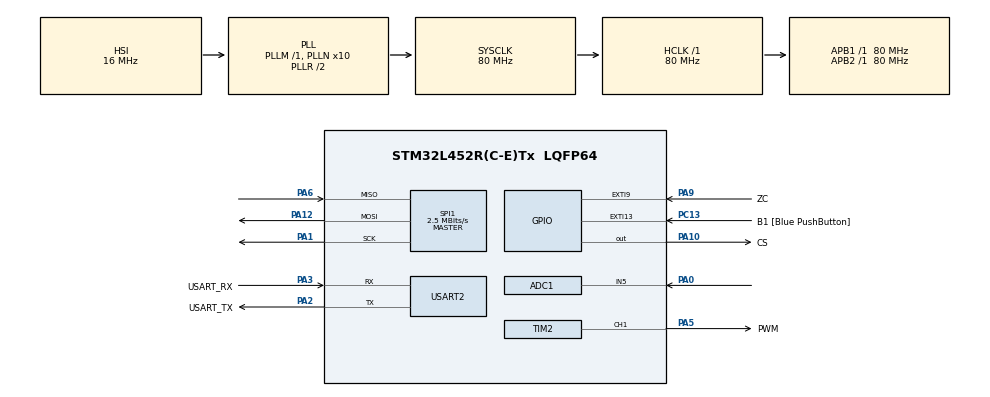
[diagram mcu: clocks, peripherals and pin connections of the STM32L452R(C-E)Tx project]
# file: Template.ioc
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ADC1.Channel-0\#ChannelRegularConversion=ADC_CHANNEL_5
ADC1.ClockPrescaler=ADC_CLOCK_ASYNC_DIV8
ADC1.NbrOfConversionFlag=1
ADC1.OffsetNumber-0\#ChannelRegularConversion=ADC_OFFSET_NONE
ADC1.Rank-0\#ChannelRegularConversion=1
ADC1.SamplingTime-0\#ChannelRegularConversion=ADC_SAMPLETIME_12CYCLES_5
ADC1.master=1
Mcu.Family=STM32L4
Mcu.Name=STM32L452R(C-E)Tx
Mcu.Package=LQFP64
Mcu.UserConstants=PRESCALER_VALUE,(4000-1);COUNTER_PERIOD_VALUE,(400-1)
NVIC.EXTI9_5_IRQn=true\:0\:0\:false\:false\:true\:true\:true\:true
NVIC.PriorityGroup=NVIC_PRIORITYGROUP_4
NVIC.TIM2_IRQn=true\:0\:0\:false\:false\:true\:true\:true\:true
PA0.Signal=ADCx_IN5
PA1.Mode=Full_Duplex_Master
PA1.Signal=SPI1_SCK
PA10.GPIO_Label=CS
PA10.GPIO_PuPd=GPIO_NOPULL
PA10.PinState=GPIO_PIN_SET
PA10.Signal=GPIO_Output
PA12.Mode=Full_Duplex_Master
PA12.Signal=SPI1_MOSI
PA13\ (JTMS/SWDIO).GPIO_Label=TMS
PA13\ (JTMS/SWDIO).Mode=Serial_Wire
PA13\ (JTMS/SWDIO).Signal=SYS_JTMS-SWDIO
PA14\ (JTCK/SWCLK).GPIO_Label=TCK
PA14\ (JTCK/SWCLK).Mode=Serial_Wire
PA14\ (JTCK/SWCLK).Signal=SYS_JTCK-SWCLK
PA2.GPIO_Label=USART_TX
PA2.GPIO_Mode=GPIO_MODE_AF_PP
PA2.GPIO_PuPd=GPIO_NOPULL
PA2.GPIO_Speed=GPIO_SPEED_FREQ_VERY_HIGH
PA2.Mode=Asynchronous
PA2.Signal=USART2_TX
PA3.GPIO_Label=USART_RX
PA3.GPIO_Mode=GPIO_MODE_AF_PP
PA3.GPIO_PuPd=GPIO_NOPULL
PA3.GPIO_Speed=GPIO_SPEED_FREQ_VERY_HIGH
PA3.Mode=Asynchronous
PA3.Signal=USART2_RX
PA5.GPIO_Label=PWM
PA5.Signal=S_TIM2_CH1
PA6.Mode=Full_Duplex_Master
PA6.Signal=SPI1_MISO
PA9.GPIO_Label=ZC
PA9.GPIO_ModeDefaultEXTI=GPIO_MODE_IT_RISING_FALLING
PA9.GPIO_PuPd=GPIO_NOPULL
PA9.Signal=GPXTI9
PB3\ (JTDO/TRACESWO).GPIO_Label=SWO
PB3\ (JTDO/TRACESWO).Signal=SYS_JTDO-SWO
PC13.GPIO_Label=B1 [Blue PushButton]
PC13.GPIO_ModeDefaultEXTI=GPIO_MODE_IT_FALLING
PC13.GPIO_PuPd=GPIO_NOPULL
PC13.Signal=GPXTI13
PC14-OSC32_IN\ (PC14).Mode=LSE-External-Oscillator
PC14-OSC32_IN\ (PC14).Signal=RCC_OSC32_IN
PC15-OSC32_OUT\ (PC15).Mode=LSE-External-Oscillator
PC15-OSC32_OUT\ (PC15).Signal=RCC_OSC32_OUT
PH0-OSC_IN\ (PH0).Signal=RCC_OSC_IN
PH1-OSC_OUT\ (PH1).Signal=RCC_OSC_OUT
ProjectManager.HeapSize=0x200
ProjectManager.StackSize=0x400
ProjectManager.TargetToolchain=STM32CubeIDE
RCC.ADCFreq_Value=64000000
RCC.AHBFreq_Value=80000000
RCC.APB1Freq_Value=80000000
RCC.APB1TimFreq_Value=80000000
RCC.APB2Freq_Value=80000000
RCC.APB2TimFreq_Value=80000000
RCC.CortexFreq_Value=80000000
RCC.HCLKFreq_Value=80000000
RCC.HSE_VALUE=8000000
RCC.HSI48_VALUE=48000000
RCC.HSI_VALUE=16000000
RCC.MSI_VALUE=4000000
RCC.PLLN=10
RCC.PLLSourceVirtual=RCC_PLLSOURCE_HSI
RCC.PREFETCH_ENABLE=1
RCC.SYSCLKFreq_VALUE=80000000
RCC.SYSCLKSource=RCC_SYSCLKSOURCE_PLLCLK
RCC.USBFreq_Value=64000000
RCC.VCOOutputFreq_Value=160000000
SH.ADCx_IN5.0=ADC1_IN5,IN5-Single-Ended
SH.S_TIM2_CH1.0=TIM2_CH1,PWM Generation1 CH1
SPI1.BaudRatePrescaler=SPI_BAUDRATEPRESCALER_32
SPI1.CLKPhase=SPI_PHASE_1EDGE
SPI1.CLKPolarity=SPI_POLARITY_LOW
SPI1.CalculateBaudRate=2.5 MBits/s
SPI1.DataSize=SPI_DATASIZE_8BIT
SPI1.Direction=SPI_DIRECTION_2LINES
SPI1.Mode=SPI_MODE_MASTER
SPI1.VirtualType=VM_MASTER
TIM2.Channel-PWM\ Generation1\ CH1=TIM_CHANNEL_1
TIM2.Period=COUNTER_PERIOD_VALUE
TIM2.Prescaler=PRESCALER_VALUE
USART2.VirtualMode-Asynchronous=VM_ASYNC
board=NUCLEO-L452RE

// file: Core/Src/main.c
/* USER CODE BEGIN Header */
/**
  ******************************************************************************
  * @file           : main.c
  * @brief          : Main program body
  ******************************************************************************
  * @attention
  *
  * Copyright (c) 2022 STMicroelectronics.
  * All rights reserved.
  *
  * This software is licensed under terms that can be found in the LICENSE file
  * in the root directory of this software component.
  * If no LICENSE file comes with this software, it is provided AS-IS.
  *
  ******************************************************************************
  */
/* USER CODE END Header */
#include "main.h"
#include "adc.h"
#include "spi.h"
#include "tim.h"
#include "usart.h"
#include "gpio.h"

/* USER CODE BEGIN Includes */
#include <stdio.h>
#include "gpio_if.h"
#include "pwm.h"
#include "pid.h"

/* USER CODE END Includes */

/* USER CODE BEGIN PD */
#define TX_TIMEOUT_MS  100   /**< Transmission time timeout over UART */
#define DELAY_MS       100   /**< Delay timeout */
#define GPIO_LD2_ENABLED 0 /**< Use LD2 as GPIO driven LED. It needs special config in IOC */

#define BUFFER_RECEIVE_SIZE 2

float temperature;

/* USER CODE END PD */

/* USER CODE BEGIN PV */
volatile uint8_t interruptflag=0;
uint8_t buf_receive[BUFFER_RECEIVE_SIZE]; //SPI buffer to read temperature
float temperaturesetpoint = 150; //Temperature setpoint
float pid_out=0; //Test variable for PWM
float pid_out_final_1=0; //Test variable for PWM
float error = 0;

/* USER CODE END PV */

void SystemClock_Config(void);

int main(void)
{
  /* USER CODE BEGIN 1 */
#if GPIO_LD2_ENABLED
  t_gpio_pin user_led_pin = {LD4_GPIO_Port, LD4_Pin};
  t_gpio_if user_led;
#endif
  t_pwm pwm;
  SPid pid;

  //set P, I and D parameters
  pid.propGain = 2;
  pid.integratGain = 0.018;
  pid.derGain = 0;
  /* USER CODE END 1 */

  /* MCU Configuration--------------------------------------------------------*/

  /* Reset of all peripherals, Initializes the Flash interface and the Systick. */
  HAL_Init();

  /* Configure the system clock */
  SystemClock_Config();

  /* Initialize all configured peripherals */
  MX_GPIO_Init();
  MX_USART2_UART_Init();
  MX_ADC1_Init();
  MX_TIM2_Init();
  MX_SPI1_Init();

  /* Infinite loop */
  /* USER CODE BEGIN WHILE */

  /* Init custom GPIO */
#if GPIO_LD2_ENABLED
  gpio_if_init(&user_led, ACTIVE_HIGH, &user_led_pin, GPIO_IF_CLEAR);
  if (gpio_if_open(&user_led) != GPIO_IF_SUCCESS)
  {
    Error_Handler();
  }
#endif

  /* Init PWM */
  pwm_init(&pwm, &htim2, TIM_CHANNEL_1, COUNTER_PERIOD_VALUE);
  if (pwm_open(&pwm) != PWM_SUCCESS)
  {
    Error_Handler();
  }

  /* Welcome message */
  printf("ELO301 PID Horno Init\r\n");

  while (1)
  {
#if GPIO_LD2_ENABLED
    /* Blink user LED */
    gpio_if_toggle(&user_led);
#endif

    HAL_Delay(10*DELAY_MS);

    /* read sensor temperature data using SPI*/
    HAL_GPIO_WritePin (GPIOA,CS_Pin, GPIO_PIN_RESET);
    HAL_SPI_Receive(&hspi1, buf_receive, BUFFER_RECEIVE_SIZE, DELAY_MS);
    HAL_GPIO_WritePin (GPIOA,CS_Pin, GPIO_PIN_SET);

    /*Combine two buffer elements into one sensor data*/
    uint16_t sensorData = ((uint16_t)buf_receive[0] << 8) | (buf_receive[1]);

    // Extracting magnitude bits (bits 3 to 14)
    uint16_t magnitude = (sensorData & 0x7FF8)>>3;

    // Calculate the temperature with LSB corresponding to 0.25°C
     temperature = magnitude * 0.25;

    // Print the temperature
    uint16_t temperature_display=(uint16_t)temperature;
    printf("Temperature: %u C\n\r", temperature_display);
    uint16_t duty_cycle_display=(uint16_t)pid_out;
    printf("PID duty cycle: %u percent \n\r", duty_cycle_display);

    /* calculate error */
   error = temperaturesetpoint - temperature;
   uint16_t error_display = (uint16_t)error;
   printf("error: %u degrees \n\r",error_display);

    /* run PID */
    pid_out=UpdatePID(&pid,error);
    if (pid_out > 100)
    	pid_out = 100;
    else if (pid_out <= 0)
    	    	pid_out = 0;
    pid_out_final_1 = pid_out;

   if(interruptflag==1){
	   interruptflag = 0;
	   pwm_update(&pwm,pid_out);
	   printf("Zero-cross detected \n\r");
   }

    /* USER CODE END WHILE */

  }
}

void SystemClock_Config(void)
{
  RCC_OscInitTypeDef RCC_OscInitStruct = {0};
  RCC_ClkInitTypeDef RCC_ClkInitStruct = {0};

  /** Configure the main internal regulator output voltage
  */
  if (HAL_PWREx_ControlVoltageScaling(PWR_REGULATOR_VOLTAGE_SCALE1) != HAL_OK)
  {
    Error_Handler();
  }

  /** Initializes the RCC Oscillators according to the specified parameters
  * in the RCC_OscInitTypeDef structure.
  */
  RCC_OscInitStruct.OscillatorType = RCC_OSCILLATORTYPE_HSI;
  RCC_OscInitStruct.HSIState = RCC_HSI_ON;
  RCC_OscInitStruct.HSICalibrationValue = RCC_HSICALIBRATION_DEFAULT;
  RCC_OscInitStruct.PLL.PLLState = RCC_PLL_ON;
  RCC_OscInitStruct.PLL.PLLSource = RCC_PLLSOURCE_HSI;
  RCC_OscInitStruct.PLL.PLLM = 1;
  RCC_OscInitStruct.PLL.PLLN = 10;
  RCC_OscInitStruct.PLL.PLLP = RCC_PLLP_DIV7;
  RCC_OscInitStruct.PLL.PLLQ = RCC_PLLQ_DIV2;
  RCC_OscInitStruct.PLL.PLLR = RCC_PLLR_DIV2;
  if (HAL_RCC_OscConfig(&RCC_OscInitStruct) != HAL_OK)
  {
    Error_Handler();
  }

  /** Initializes the CPU, AHB and APB buses clocks
  */
  RCC_ClkInitStruct.ClockType = RCC_CLOCKTYPE_HCLK|RCC_CLOCKTYPE_SYSCLK
                              |RCC_CLOCKTYPE_PCLK1|RCC_CLOCKTYPE_PCLK2;
  RCC_ClkInitStruct.SYSCLKSource = RCC_SYSCLKSOURCE_PLLCLK;
  RCC_ClkInitStruct.AHBCLKDivider = RCC_SYSCLK_DIV1;
  RCC_ClkInitStruct.APB1CLKDivider = RCC_HCLK_DIV1;
  RCC_ClkInitStruct.APB2CLKDivider = RCC_HCLK_DIV1;

  if (HAL_RCC_ClockConfig(&RCC_ClkInitStruct, FLASH_LATENCY_4) != HAL_OK)
  {
    Error_Handler();
  }
}

/* USER CODE BEGIN 4 */

/**
 * @brief Function that bridges HAL with printf
 * @param file Not in use
 * @param ptr Pointer to data to be printed out
 * @param len Length of the data to be printed out
 * @return len
 */

int _write(int file, char *ptr, int len)
{
  if (HAL_UART_Transmit(&huart2, (uint8_t *)ptr, len, TX_TIMEOUT_MS) != HAL_OK)
  {
    Error_Handler();
  }

  return len;
}

//interruption code
void HAL_GPIO_EXTI_Callback(uint16_t GPIO_PIN){

	if(GPIO_PIN == ZC_Pin){
				interruptflag=1;
	}

}

/* USER CODE END 4 */

void Error_Handler(void)
{
  __disable_irq();
  while (1)
  {
  }
}
